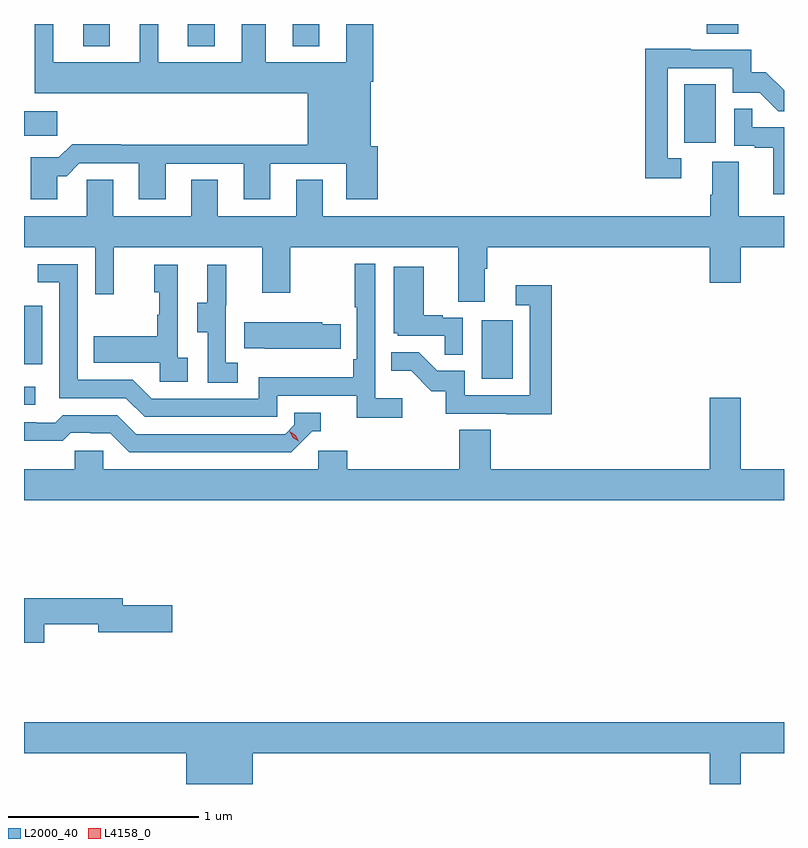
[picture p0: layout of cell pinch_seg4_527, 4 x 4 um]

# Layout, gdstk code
import gdstk
lib = gdstk.Library(unit=1e-6, precision=1e-09)
def R(c, l, rs):  # rectangles x0, y0, x1, y1
    for r in rs: c.add(gdstk.rectangle(r[:2], r[2:], *l))
def A(c, l, x, y, w, h, nx, ny, dx, dy):  # array of equal rectangles
    R(c, l, [(x+i*dx, y+j*dy, x+i*dx+w, y+j*dy+h) for i in range(nx) for j in range(ny)])
def P(c, l, *ps):  # polygons
    for p in ps: c.add(gdstk.Polygon(p, *l))
L2000_40 = (2000, 40)
L4158_0 = (4158, 0)

pinch_seg4_527 = lib.new_cell('pinch_seg4_527')
A(pinch_seg4_527, L2000_40, 1138.733, 775.235, 0.14, 0.116, 3, 1, 0.552, 0)
R(pinch_seg4_527, L2000_40, [(1138.422,773.346,1138.48,773.442), (1140.83,773.484,1140.994,773.791), (1138.422,773.559,1138.518,773.868), (1141.898,774.726,1142.062,775.033), (1138.422,774.763,1138.597,774.892), (1142.015,775.3,1142.18,775.351)])
P(pinch_seg4_527, L2000_40, [(1138.597,774.551),(1138.646,774.551),(1138.713,774.618),(1139.027,774.618),(1139.027,774.429),(1139.167,774.429),(1139.167,774.615),(1139.579,774.615),(1139.579,774.429),(1139.719,774.429),(1139.719,774.615),(1140.119,774.615),(1140.119,774.429),(1140.284,774.429),(1140.284,774.708),(1140.247,774.708),(1140.247,775.046),(1140.26,775.046),(1140.26,775.351),(1140.119,775.351),(1140.119,775.15),(1139.695,775.15),(1139.695,775.351),(1139.567,775.351),(1139.567,775.15),(1139.128,775.15),(1139.128,775.351),(1139.03,775.351),(1139.03,775.15),(1138.576,775.15),(1138.576,775.351),(1138.478,775.351),(1138.478,774.986),(1139.915,774.986),(1139.915,774.716),(1138.931,774.716),(1138.931,774.719),(1138.676,774.719),(1138.606,774.649),(1138.457,774.649),(1138.457,774.429),(1138.597,774.429)],
  [(1141.882,774.645),(1141.809,774.645),(1141.809,775.119),(1142.151,775.119),(1142.151,774.99),(1142.295,774.99),(1142.393,774.892),(1142.422,774.892),(1142.422,775.002),(1142.326,775.098),(1142.25,775.098),(1142.25,775.215),(1141.931,775.215),(1141.931,775.22),(1141.693,775.22),(1141.693,774.54),(1141.882,774.54)],
  [(1142.422,774.807),(1142.255,774.807),(1142.255,774.905),(1142.16,774.905),(1142.16,774.711),(1142.267,774.711),(1142.267,774.699),(1142.366,774.699),(1142.366,774.456),(1142.422,774.456)],
  [(1140.847,774.064),(1140.86,774.064),(1140.86,774.176),(1142.03,774.176),(1142.03,773.988),(1142.194,773.988),(1142.194,774.176),(1142.422,774.176),(1142.422,774.34),(1142.185,774.34),(1142.185,774.626),(1142.045,774.626),(1142.045,774.452),(1142.033,774.452),(1142.033,774.34),(1139.995,774.34),(1139.995,774.53),(1139.855,774.53),(1139.855,774.34),(1139.443,774.34),(1139.443,774.53),(1139.303,774.53),(1139.303,774.34),(1138.891,774.34),(1138.891,774.53),(1138.752,774.53),(1138.752,774.34),(1138.422,774.34),(1138.422,774.176),(1138.797,774.176),(1138.797,773.928),(1138.895,773.928),(1138.895,774.176),(1139.675,774.176),(1139.675,773.937),(1139.823,773.937),(1139.823,774.176),(1140.707,774.176),(1140.707,773.89),(1140.847,773.89)],
  [(1140.412,773.38),(1140.27,773.38),(1140.27,774.088),(1140.162,774.088),(1140.162,773.86),(1140.174,773.86),(1140.174,773.587),(1140.154,773.587),(1140.154,773.491),(1139.658,773.491),(1139.658,773.379),(1139.094,773.379),(1138.995,773.478),(1138.704,773.478),(1138.704,774.087),(1138.495,774.087),(1138.495,773.991),(1138.608,773.991),(1138.608,773.382),(1138.958,773.382),(1139.057,773.283),(1139.754,773.283),(1139.754,773.394),(1140.173,773.394),(1140.173,773.278),(1140.412,773.278)],
  [(1139.548,773.567),(1139.484,773.567),(1139.484,773.871),(1139.486,773.871),(1139.486,774.085),(1139.387,774.085),(1139.387,773.883),(1139.333,773.883),(1139.333,773.728),(1139.388,773.728),(1139.388,773.464),(1139.548,773.464)],
  [(1139.284,773.594),(1139.232,773.594),(1139.232,774.085),(1139.108,774.085),(1139.108,773.94),(1139.134,773.94),(1139.134,773.822),(1139.124,773.822),(1139.124,773.707),(1138.789,773.707),(1138.789,773.567),(1139.136,773.567),(1139.136,773.469),(1139.284,773.469)],
  [(1140.732,773.805),(1140.626,773.805),(1140.626,773.818),(1140.526,773.818),(1140.526,774.073),(1140.368,774.073),(1140.368,773.724),(1140.39,773.724),(1140.39,773.709),(1140.637,773.709),(1140.637,773.611),(1140.732,773.611)],
  [(1141.199,773.977),(1141.011,773.977),(1141.011,773.871),(1141.083,773.871),(1141.083,773.397),(1140.741,773.397),(1140.741,773.526),(1140.597,773.526),(1140.499,773.624),(1140.355,773.624),(1140.355,773.525),(1140.459,773.525),(1140.566,773.418),(1140.643,773.418),(1140.643,773.301),(1140.961,773.301),(1140.961,773.296),(1141.199,773.296)],
  [(1140.089,773.772),(1139.991,773.772),(1139.991,773.782),(1139.581,773.782),(1139.581,773.645),(1139.689,773.645),(1139.689,773.642),(1140.089,773.642)],
  [(1142.422,773.008),(1142.194,773.008),(1142.194,773.383),(1142.03,773.383),(1142.03,773.008),(1140.878,773.008),(1140.878,773.216),(1140.713,773.216),(1140.713,773.008),(1140.122,773.008),(1140.122,773.106),(1139.97,773.106),(1139.97,773.008),(1138.839,773.008),(1138.839,773.106),(1138.689,773.106),(1138.689,773.008),(1138.422,773.008),(1138.422,772.844),(1142.422,772.844)],
  [(1139.94,773.208),(1139.983,773.208),(1139.983,773.304),(1139.844,773.304),(1139.844,773.241),(1139.796,773.193),(1139.013,773.193),(1138.914,773.292),(1138.625,773.292),(1138.586,773.253),(1138.487,773.253),(1138.487,773.256),(1138.422,773.256),(1138.422,773.157),(1138.625,773.157),(1138.667,773.199),(1138.77,773.199),(1138.77,773.196),(1138.877,773.196),(1138.976,773.097),(1139.829,773.097)],
  [(1138.528,772.192),(1138.814,772.192),(1138.814,772.15),(1139.203,772.15),(1139.203,772.292),(1138.942,772.292),(1138.942,772.328),(1138.424,772.328),(1138.424,772.309),(1138.422,772.309),(1138.422,772.094),(1138.528,772.094)],
  [(1139.626,771.512),(1142.03,771.512),(1142.03,771.351),(1142.194,771.351),(1142.194,771.512),(1142.422,771.512),(1142.422,771.676),(1138.422,771.676),(1138.422,771.512),(1139.276,771.512),(1139.276,771.351),(1139.626,771.351)])
P(pinch_seg4_527, L4158_0, [(1139.867,773.155),(1139.836,773.174),(1139.82,773.206),(1139.82,773.207),(1139.82,773.207),(1139.851,773.187),(1139.867,773.155),(1139.867,773.155)])

lib.write_gds('pinch_seg4_527.gds')
